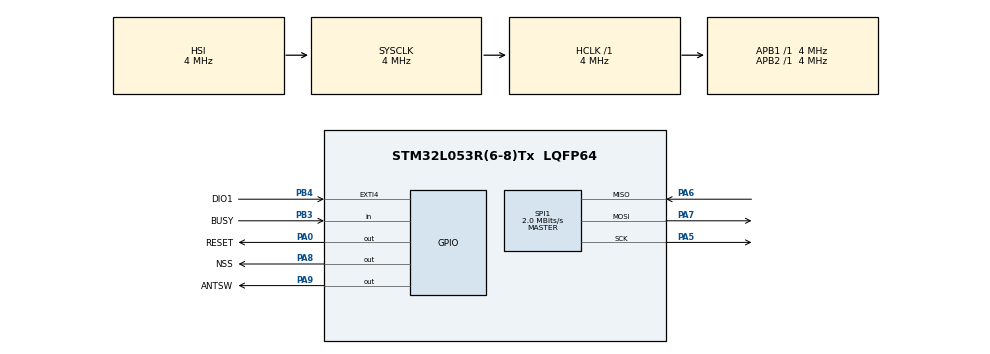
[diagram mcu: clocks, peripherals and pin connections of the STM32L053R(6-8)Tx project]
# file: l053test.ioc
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Mcu.Family=STM32L0
Mcu.Name=STM32L053R(6-8)Tx
Mcu.Package=LQFP64
NVIC.EXTI4_15_IRQn=true\:0\:0\:false\:false\:true
PA0.GPIO_Label=RESET
PA0.Signal=GPIO_Output
PA5.Mode=Full_Duplex_Master
PA5.Signal=SPI1_SCK
PA6.Mode=Full_Duplex_Master
PA6.Signal=SPI1_MISO
PA7.Mode=Full_Duplex_Master
PA7.Signal=SPI1_MOSI
PA8.GPIO_Label=NSS
PA8.GPIO_Speed=GPIO_SPEED_FREQ_VERY_HIGH
PA8.PinState=GPIO_PIN_RESET
PA8.Signal=GPIO_Output
PA9.GPIO_Label=ANTSW
PA9.GPIO_Speed=GPIO_SPEED_FREQ_VERY_HIGH
PA9.Signal=GPIO_Output
PB3.GPIO_Label=BUSY
PB3.Signal=GPIO_Input
PB4.GPIO_Label=DIO1
PB4.Signal=GPXTI4
ProjectManager.HeapSize=0x200
ProjectManager.StackSize=0x400
ProjectManager.TargetToolchain=Makefile
RCC.ADCFreq_Value=4000000
RCC.AHBFreq_Value=4000000
RCC.APB1Freq_Value=4000000
RCC.APB1TimFreq_Value=4000000
RCC.APB2Freq_Value=4000000
RCC.APB2TimFreq_Value=4000000
RCC.HCLKFreq_Value=4000000
RCC.HSE_VALUE=8000000
RCC.HSI16_VALUE=16000000
RCC.HSI48_VALUE=48000000
RCC.HSIRCDiv=4
RCC.HSI_VALUE=4000000
RCC.LSE_VALUE=32768
RCC.MSI_VALUE=2097000
RCC.SYSCLKFreq_VALUE=4000000
RCC.SYSCLKSource=RCC_SYSCLKSOURCE_HSI
RCC.VCOOutputFreq_Value=12000000
SPI1.CalculateBaudRate=2.0 MBits/s
SPI1.Direction=SPI_DIRECTION_2LINES
SPI1.Mode=SPI_MODE_MASTER
SPI1.VirtualType=VM_MASTER
board=l053test

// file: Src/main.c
/**
  ******************************************************************************
  * File Name          : main.c
  * Description        : Main program body
  ******************************************************************************
  ** This notice applies to any and all portions of this file
  * that are not between comment pairs USER CODE BEGIN and
  * USER CODE END. Other portions of this file, whether
  * inserted by the user or by software development tools
  * are owned by their respective copyright owners.
  *
  * COPYRIGHT(c) 2019 STMicroelectronics
  *
  * Redistribution and use in source and binary forms, with or without modification,
  * are permitted provided that the following conditions are met:
  *   1. Redistributions of source code must retain the above copyright notice,
  *      this list of conditions and the following disclaimer.
  *   2. Redistributions in binary form must reproduce the above copyright notice,
  *      this list of conditions and the following disclaimer in the documentation
  *      and/or other materials provided with the distribution.
  *   3. Neither the name of STMicroelectronics nor the names of its contributors
  *      may be used to endorse or promote products derived from this software
  *      without specific prior written permission.
  *
  * THIS SOFTWARE IS PROVIDED BY THE COPYRIGHT HOLDERS AND CONTRIBUTORS "AS IS"
  * AND ANY EXPRESS OR IMPLIED WARRANTIES, INCLUDING, BUT NOT LIMITED TO, THE
  * IMPLIED WARRANTIES OF MERCHANTABILITY AND FITNESS FOR A PARTICULAR PURPOSE ARE
  * DISCLAIMED. IN NO EVENT SHALL THE COPYRIGHT HOLDER OR CONTRIBUTORS BE LIABLE
  * FOR ANY DIRECT, INDIRECT, INCIDENTAL, SPECIAL, EXEMPLARY, OR CONSEQUENTIAL
  * DAMAGES (INCLUDING, BUT NOT LIMITED TO, PROCUREMENT OF SUBSTITUTE GOODS OR
  * SERVICES; LOSS OF USE, DATA, OR PROFITS; OR BUSINESS INTERRUPTION) HOWEVER
  * CAUSED AND ON ANY THEORY OF LIABILITY, WHETHER IN CONTRACT, STRICT LIABILITY,
  * OR TORT (INCLUDING NEGLIGENCE OR OTHERWISE) ARISING IN ANY WAY OUT OF THE USE
  * OF THIS SOFTWARE, EVEN IF ADVISED OF THE POSSIBILITY OF SUCH DAMAGE.
  *
  ******************************************************************************
  */
#include "main.h"
#include "stm32l0xx_hal.h"
#include <stdbool.h>

/* USER CODE BEGIN Includes */
//#include "sx126x-hal.h"
#include "sx126x.h"
/* USER CODE END Includes */

SPI_HandleTypeDef hspi1;

/* USER CODE BEGIN PV */

#define SEND_PING_BEAT_US 500000
#define RX_TIMEOUT_US 500000

/* Set this flag to '1' to display debug messages on the console */
#define DEBUG_MESSAGE   1
#define ADV_DEBUG 1

/* Set this flag to '1' to use the LoRa modulation or to '0' to use FSK modulation */
#define USE_MODEM_LORA  1
#define USE_MODEM_FSK   !USE_MODEM_LORA

#define RF_FREQUENCY                                    868500000 // Hz
#define TX_OUTPUT_POWER                                 14        // 14 dBm

//#if USE_MODEM_LORA == 1

    #define LORA_BANDWIDTH                              LORA_BW_125         // [0: 125 kHz,
                                                                  //  1: 250 kHz,
                                                                  //  2: 500 kHz,
                                                                  //  3: Reserved]
    #define LORA_SPREADING_FACTOR                       LORA_SF7         // [SF7..SF12]
    #define LORA_LOWDATARATEOPTIMIZE                    0
    #define LORA_CODINGRATE                             LORA_CR_4_5         // [1: 4/5,
                                                                  //  2: 4/6,
                                                                  //  3: 4/7,
                                                                  //  4: 4/8]
    #define LORA_PREAMBLE_LENGTH                        8         // Same for Tx and Rx
    #define LORA_SYMBOL_TIMEOUT                         5         // Symbols
    #define LORA_HEADER_TYPE                            LORA_PACKET_VARIABLE_LENGTH
    #define LORA_FHSS_ENABLED                           false
    #define LORA_NB_SYMB_HOP                            4
    #define LORA_IQ                                     LORA_IQ_NORMAL
    #define LORA_CRC_MODE                               LORA_CRC_ON

/*#elif USE_MODEM_FSK == 1

    #define FSK_FDEV                                    25000     // Hz
    #define FSK_DATARATE                                19200     // bps
    #define FSK_BANDWIDTH                               RX_BW_93800     // Hz
    #define FSK_MODULATION_SHAPPING                     MOD_SHAPING_G_BT_05
    #define FSK_PREAMBLE_LENGTH                         5         // Same for Tx and Rx
    #define FSK_HEADER_TYPE                             RADIO_PACKET_VARIABLE_LENGTH
    #define FSK_CRC_MODE                                RADIO_CRC_2_BYTES_CCIT
    #define FSK_ADDR_FILTERING                          RADIO_ADDRESSCOMP_FILT_NODE;
    #define FSK_WHITENING_MODE                          RADIO_DC_FREE_OFF
    #define FSK_PREAMBLE_DETECTOR_MODE                  RADIO_PREAMBLE_DETECTOR_OFF
    #define FSK_SYNCWORD_LENGTH                         8
#else
    #error "Please define a modem in the compiler options."
#endif*/

#define RX_TIMEOUT_VALUE                                3500      // in ms
#define BUFFER_SIZE                                     32        // Define the payload size here

 /*
 * Callback functions prototypes
 */
/*!
 * @brief Function to be executed on Radio Tx Done event
 */
void OnTxDone( void );

/*!
 * @brief Function to be executed on Radio Rx Done event
 */
void OnRxDone( void );

/*!
 * @brief Function executed on Radio Tx Timeout event
 */
void OnTxTimeout( void );

/*!
 * @brief Function executed on Radio Rx Timeout event
 */
void OnRxTimeout( void );

/*!
 * @brief Function executed on Radio Rx Error event
 */
void OnRxError( IrqErrorCode_t errCode );

/*!
 * @brief Function executed on Radio Fhss Change Channel event
 */
void OnFhssChangeChannel( uint8_t channelIndex );

typedef struct{
    RadioPacketTypes_t packetType;
    int8_t txPower;
    RadioRampTimes_t txRampTime;
    ModulationParams_t modParams;
    PacketParams_t packetParams;
    uint32_t rfFrequency;
    uint16_t irqTx;
    uint16_t irqRx;
    uint32_t txTimeout;
    uint32_t rxTimeout;
}RadioConfigurations_t;
RadioConfigurations_t radioConfiguration;

/*
 *  Global variables declarations
 */
typedef enum
{
    SEND_PACKET,
    WAIT_SEND_DONE,
    RECEIVE_PACKET,
    WAIT_RECEIVE_DONE,
    PACKET_RECEIVED,
}AppStates_t;
volatile AppStates_t State = SEND_PACKET;

typedef struct{
    bool rxDone;
    bool rxError;
    bool txDone;
    bool rxTimeout;
    bool txTimeout;
}RadioFlags_t;
RadioFlags_t radioFlags = {
    .txDone = false,
    .rxDone = false,
    .rxError = false,
    .rxTimeout = false,
    .txTimeout = false,
};

/*!
 * Radio events function pointer
 */
static RadioCallbacks_t RadioEvents = {
    .txDone = &OnTxDone,
    .txTimeout = &OnTxTimeout,
    .rxDone = &OnRxDone,
    .rxPreambleDetect = NULL,
    .rxHeaderDone = NULL,
    .rxTimeout = &OnRxTimeout,
    .rxError = &OnRxError,
    .cadDone = NULL,
};

/*
 *  Global variables declarations
 */
//Radio Radio( NULL );
#define MESSAGE_SIZE 4
typedef uint8_t Messages_t[MESSAGE_SIZE];
const Messages_t PingMsg = {'P', 'I', 'N', 'G'};
const Messages_t PongMsg = {'P', 'O', 'N', 'G'};
const Messages_t *messageToReceive = &PongMsg;
const Messages_t *messageToSend = &PingMsg;

uint8_t BufferSize = BUFFER_SIZE;
uint8_t Buffer[BUFFER_SIZE];

int8_t RssiValue = 0;
int8_t SnrValue = 0;

static bool ImageCalibrated = false;
static uint8_t OPT = 1;

RadioOperatingModes_t OperatingMode;

void GetRssiSnr(int8_t *rssi, int8_t *snr);
//SX126xHal Radio( D11, D12, D13, D7, D3, D5, NC, NC, A0, A1, A2, D8, &RadioEvents );

void SetToMaster(void);
void SetToSlave(void);
void RunMasterStateMachine();
void RunSlaveStateMachine();
void SetConfiguration(RadioConfigurations_t *config);
//void ConfigureGeneralRadio(SX126xHal *radio, RadioConfigurations_t *config);
//void ConfigureRadioTx(SX126xHal *radio, RadioConfigurations_t *config);
//void ConfigureRadioRx(SX126xHal *radio, RadioConfigurations_t *config);
//void PrepareBuffer(SX126xHal *radio, const Messages_t *messageToSend);
bool isMaster = true;
bool masterCanSend = true;
void MasterSendNextEvent(void){masterCanSend = true;}
bool slaveCanListen = false;
void SlaveListenNextEvent(void){slaveCanListen = true;}
//Ticker masterSendNextTicker;
//Ticker slaveListenNextTicker;

/* Private variables ---------------------------------------------------------*/

/* USER CODE END PV */

void SystemClock_Config(void);
static void MX_GPIO_Init(void);
static void MX_SPI1_Init(void);

/* USER CODE BEGIN PFP */
/* Private function prototypes -----------------------------------------------*/

/* USER CODE END PFP */

int main(void)
{

  /* MCU Configuration----------------------------------------------------------*/

  /* Reset of all peripherals, Initializes the Flash interface and the Systick. */
  HAL_Init();

  /* Configure the system clock */
  SystemClock_Config();

  /* Initialize all configured peripherals */
  MX_GPIO_Init();
  MX_SPI1_Init();

  /* USER CODE BEGIN 2 */
  sx126x_Reset();
  sx126x_Init();
  //serial.baud(115200);
  SetToMaster();
  SetConfiguration(&radioConfiguration);
  ConfigureGeneralRadio(&radioConfiguration);

  /* USER CODE END 2 */

  /* Infinite loop */
  while (1)
  {

  /* USER CODE BEGIN 3 */
    //if(isMaster){
     //RunMasterStateMachine();
    //}

    PrepareBuffer(messageToSend);
    ConfigureRadioTx(&radioConfiguration);
    sx126x_SetTx(radioConfiguration.txTimeout);

    HAL_Delay(500);

  }
  /* USER CODE END 3 */

}

void ConfigureRadioTx(RadioConfigurations_t *config){
    sx126x_SetDioIrqParams(config->irqTx, config->irqTx, IRQ_RADIO_NONE, IRQ_RADIO_NONE);
}

void PrepareBuffer(const Messages_t *messageToSend){
    sx126x_SetPayload((uint8_t*)messageToSend, MESSAGE_SIZE);
}

void sx126x_SetTx( uint32_t timeout )
{
    uint8_t buf[3];

    OperatingMode = MODE_TX;

    buf[0] = ( uint8_t )( ( timeout >> 16 ) & 0xFF );
    buf[1] = ( uint8_t )( ( timeout >> 8 ) & 0xFF );
    buf[2] = ( uint8_t )( timeout & 0xFF );
    sx126x_WriteCommand( RADIO_SET_TX, buf, 3 );
}

void sx126x_SetDioIrqParams( uint16_t irqMask, uint16_t dio1Mask, uint16_t dio2Mask, uint16_t dio3Mask )
{
    uint8_t buf[8];

    buf[0] = ( uint8_t )( ( irqMask >> 8 ) & 0x00FF );
    buf[1] = ( uint8_t )( irqMask & 0x00FF );
    buf[2] = ( uint8_t )( ( dio1Mask >> 8 ) & 0x00FF );
    buf[3] = ( uint8_t )( dio1Mask & 0x00FF );
    buf[4] = ( uint8_t )( ( dio2Mask >> 8 ) & 0x00FF );
    buf[5] = ( uint8_t )( dio2Mask & 0x00FF );
    buf[6] = ( uint8_t )( ( dio3Mask >> 8 ) & 0x00FF );
    buf[7] = ( uint8_t )( dio3Mask & 0x00FF );
    sx126x_WriteCommand( RADIO_CFG_DIOIRQ, buf, 8 );
}

void sx126x_SetPayload( uint8_t *payload, uint8_t size )
{
    sx126x_WriteBuffer( 0x00, payload, size );
}

void SetToMaster(){
    //printf("-->Master\n");
    isMaster = true;
    masterCanSend = true;
    State = SEND_PACKET;
    messageToReceive = &PongMsg;
    messageToSend = &PingMsg;
}

void ConfigureGeneralRadio(RadioConfigurations_t *config){
    sx126x_SetPacketType(config->packetType);
    sx126x_SetPacketParams(&config->packetParams);
    sx126x_SetModulationParams(&config->modParams);
    sx126x_SetRfFrequency(config->rfFrequency);
    sx126x_SetTxParams(config->txPower, config->txRampTime);
    //sx126x_SetInterruptMode();
    if(config->packetType == PACKET_TYPE_GFSK){
        uint8_t syncword[8] = {0xF0, 0x0F, 0x55, 0xAA, 0xF0, 0x0F, 0x55, 0xAA};
        sx126x_SetSyncWord(syncword);
    }
}

void sx126x_SetTxParams( int8_t power, RadioRampTimes_t rampTime )
{
    uint8_t buf[2];
    //DigitalIn OPT( A3 );

    //if( GetDeviceType( ) == SX1261 )
    //{
        if( power == 15 )
        {
            sx126x_SetPaConfig( 0x06, 0x00, 0x01, 0x01 );
        }
        else
        {
            sx126x_SetPaConfig( 0x04, 0x00, 0x01, 0x01 );
        }
        if( power >= 14 )
        {
            power = 14;
        }
        else if( power < -3 )
        {
            power = -3;
        }
        sx126x_WriteReg( REG_OCP, 0x18, 1 ); // current max is 80 mA for the whole device
    //}
    /*else // sx1262 or sx1268
    {
        SetPaConfig( 0x04, 0x07, 0x00, 0x01 );
        if( power > 22 )
        {
            power = 22;
        }
        else if( power < -3 )
        {
            power = -3;
        }
        WriteReg( REG_OCP, 0x38 ); // current max 160mA for the whole device
    }*/
    buf[0] = power;
    if( OPT == 0 )
    {
        if( ( uint8_t )rampTime < RADIO_RAMP_200_US )
        {
            buf[1] = RADIO_RAMP_200_US;
        }
        else
        {
            buf[1] = ( uint8_t )rampTime;
        }
    }
    else
    {
        buf[1] = ( uint8_t )rampTime;
    }
    sx126x_WriteCommand( RADIO_SET_TXPARAMS, buf, 2 );
}

void sx126x_SetPaConfig( uint8_t paDutyCycle, uint8_t HpMax, uint8_t deviceSel, uint8_t paLUT )
{
    uint8_t buf[4];

    buf[0] = paDutyCycle;
    buf[1] = HpMax;
    buf[2] = deviceSel;
    buf[3] = paLUT;
    sx126x_WriteCommand( RADIO_SET_PACONFIG, buf, 4 );
}

void sx126x_SetRfFrequency( uint32_t frequency )
{
    uint8_t buf[4];
    uint32_t freq = 0;

    if( ImageCalibrated == false )
    {
        sx126x_CalibrateImage( frequency );
        ImageCalibrated = true;
    }

    freq = ( uint32_t )( ( double )frequency / ( double )FREQ_STEP );
    buf[0] = ( uint8_t )( ( freq >> 24 ) & 0xFF );
    buf[1] = ( uint8_t )( ( freq >> 16 ) & 0xFF );
    buf[2] = ( uint8_t )( ( freq >> 8 ) & 0xFF );
    buf[3] = ( uint8_t )( freq & 0xFF );
    sx126x_WriteCommand( RADIO_SET_RFFREQUENCY, buf, 4 );
}

void sx126x_CalibrateImage( uint32_t freq )
{
    uint8_t calFreq[2];

    if( freq > 900000000 )
    {
        calFreq[0] = 0xE1;
        calFreq[1] = 0xE9;
    }
    else if( freq > 850000000 )
    {
        calFreq[0] = 0xD7;
        calFreq[1] = 0xD8;
    }
    else if( freq > 770000000 )
    {
        calFreq[0] = 0xC1;
        calFreq[1] = 0xC5;
    }
    else if( freq > 460000000 )
    {
        calFreq[0] = 0x75;
        calFreq[1] = 0x81;
    }
    else if( freq > 425000000 )
    {
        calFreq[0] = 0x6B;
        calFreq[1] = 0x6F;
    }
    sx126x_WriteCommand( RADIO_CALIBRATEIMAGE, calFreq, 2 );
}

void sx126x_SetModulationParams( ModulationParams_t *modulationParams )
{
    uint8_t n;
    uint32_t tempVal = 0;
    uint8_t buf[8] = { 0x00, 0x00, 0x00, 0x00, 0x00, 0x00, 0x00, 0x00 };

    // Check if required configuration corresponds to the stored packet type
    // If not, silently update radio packet type
    /*if( this->PacketType != modulationParams->PacketType )
    {
        this->SetPacketType( modulationParams->PacketType );
    }*/

    switch( modulationParams->PacketType )
    {
    case PACKET_TYPE_GFSK:
        n = 8;
        tempVal = ( uint32_t )( 32 * ( ( double )XTAL_FREQ / ( double )modulationParams->Params.Gfsk.BitRate ) );
        buf[0] = ( tempVal >> 16 ) & 0xFF;
        buf[1] = ( tempVal >> 8 ) & 0xFF;
        buf[2] = tempVal & 0xFF;
        buf[3] = modulationParams->Params.Gfsk.ModulationShaping;
        buf[4] = modulationParams->Params.Gfsk.Bandwidth;
        tempVal = ( uint32_t )( ( double )modulationParams->Params.Gfsk.Fdev / ( double )FREQ_STEP );
        buf[5] = ( tempVal >> 16 ) & 0xFF;
        buf[6] = ( tempVal >> 8 ) & 0xFF;
        buf[7] = ( tempVal& 0xFF );
        break;
    case PACKET_TYPE_LORA:
        n = 4;
        switch( modulationParams->Params.LoRa.Bandwidth )
        {
            case LORA_BW_500:
                 modulationParams->Params.LoRa.LowDatarateOptimize = 0x00;
                break;
            case LORA_BW_250:
                if( modulationParams->Params.LoRa.SpreadingFactor == 12 )
                {
                    modulationParams->Params.LoRa.LowDatarateOptimize = 0x01;
                }
                else
                {
                    modulationParams->Params.LoRa.LowDatarateOptimize = 0x00;
                }
                break;
            case LORA_BW_125:
                if( modulationParams->Params.LoRa.SpreadingFactor >= 11 )
                {
                    modulationParams->Params.LoRa.LowDatarateOptimize = 0x01;
                }
                else
                {
                    modulationParams->Params.LoRa.LowDatarateOptimize = 0x00;
                }
                break;
            case LORA_BW_062:
                if( modulationParams->Params.LoRa.SpreadingFactor >= 10 )
                {
                    modulationParams->Params.LoRa.LowDatarateOptimize = 0x01;
                }
                else
                {
                    modulationParams->Params.LoRa.LowDatarateOptimize = 0x00;
                }
                break;
            case LORA_BW_041:
                if( modulationParams->Params.LoRa.SpreadingFactor >= 9 )
                {
                    modulationParams->Params.LoRa.LowDatarateOptimize = 0x01;
                }
                else
                {
                    modulationParams->Params.LoRa.LowDatarateOptimize = 0x00;
                }
                break;
            case LORA_BW_031:
            case LORA_BW_020:
            case LORA_BW_015:
            case LORA_BW_010:
            case LORA_BW_007:
                    modulationParams->Params.LoRa.LowDatarateOptimize = 0x01;
                break;
            default:
                break;
        }
        buf[0] = modulationParams->Params.LoRa.SpreadingFactor;
        buf[1] = modulationParams->Params.LoRa.Bandwidth;
        buf[2] = modulationParams->Params.LoRa.CodingRate;
        buf[3] = modulationParams->Params.LoRa.LowDatarateOptimize;
        break;
    default:
    case PACKET_TYPE_NONE:
        return;
    }
    sx126x_WriteCommand( RADIO_SET_MODULATIONPARAMS, buf, n );
}

void sx126x_SetSyncWord( uint8_t *syncWord )
{
    sx126x_WriteReg( REG_LR_SYNCWORDBASEADDRESS, syncWord, 8 );
    //return 0;
}

void sx126x_SetPacketParams( PacketParams_t *packetParams )
{
    uint8_t n;
    uint8_t crcVal = 0;
    uint8_t buf[9] = { 0x00, 0x00, 0x00, 0x00, 0x00, 0x00, 0x00, 0x00, 0x00 };

    // Check if required configuration corresponds to the stored packet type
    // If not, silently update radio packet type
    /*if( this->PacketType != packetParams->PacketType )
    {
        this->SetPacketType( packetParams->PacketType );
    }*/

    //sx126x_SetPacketType( packetParams->PacketType );

    switch( packetParams->PacketType )
    {
    case PACKET_TYPE_GFSK:
        if( packetParams->Params.Gfsk.CrcLength == RADIO_CRC_2_BYTES_IBM )
        {
            sx126x_SetCrcSeed( CRC_IBM_SEED );
            sx126x_SetCrcPolynomial( CRC_POLYNOMIAL_IBM );
            crcVal = RADIO_CRC_2_BYTES;
        }
        else if(  packetParams->Params.Gfsk.CrcLength == RADIO_CRC_2_BYTES_CCIT )
        {
            sx126x_SetCrcSeed( CRC_CCITT_SEED );
            sx126x_SetCrcPolynomial( CRC_POLYNOMIAL_CCITT );
            crcVal = RADIO_CRC_2_BYTES_INV;
        }
        else
        {
            crcVal = packetParams->Params.Gfsk.CrcLength;
        }
        n = 9;
        // convert preamble length from byte to bit
        packetParams->Params.Gfsk.PreambleLength = packetParams->Params.Gfsk.PreambleLength << 3;

        buf[0] = ( packetParams->Params.Gfsk.PreambleLength >> 8 ) & 0xFF;
        buf[1] = packetParams->Params.Gfsk.PreambleLength;
        buf[2] = packetParams->Params.Gfsk.PreambleMinDetect;
        buf[3] = ( packetParams->Params.Gfsk.SyncWordLength << 3 ); // convert from byte to bit
        buf[4] = packetParams->Params.Gfsk.AddrComp;
        buf[5] = packetParams->Params.Gfsk.HeaderType;
        buf[6] = packetParams->Params.Gfsk.PayloadLength;
        buf[7] = crcVal;
        buf[8] = packetParams->Params.Gfsk.DcFree;
        break;
    case PACKET_TYPE_LORA:
        n = 6;
        buf[0] = ( packetParams->Params.LoRa.PreambleLength >> 8 ) & 0xFF;
        buf[1] = packetParams->Params.LoRa.PreambleLength;
        buf[2] = packetParams->Params.LoRa.HeaderType;
        buf[3] = packetParams->Params.LoRa.PayloadLength;
        buf[4] = packetParams->Params.LoRa.CrcMode;
        buf[5] = packetParams->Params.LoRa.InvertIQ;
        break;
    default:
    case PACKET_TYPE_NONE:
        return;
    }
    sx126x_WriteCommand( RADIO_SET_PACKETPARAMS, buf, n );
}

void sx126x_SetCrcSeed( uint16_t seed )
{
    uint8_t buf[2];

    buf[0] = ( uint8_t )( ( seed >> 8 ) & 0xFF );
    buf[1] = ( uint8_t )( seed & 0xFF );

    if (USE_MODEM_LORA == 0)
    {
        sx126x_WriteRegister( REG_LR_CRCSEEDBASEADDR, buf, 2 );
        return;
    } else {
        return;
    }
}

void sx126x_SetCrcPolynomial( uint16_t polynomial )
{
    uint8_t buf[2];

    buf[0] = ( uint8_t )( ( polynomial >> 8 ) & 0xFF );
    buf[1] = ( uint8_t )( polynomial & 0xFF );

    if (USE_MODEM_LORA == 0)
    {
        sx126x_WriteRegister( REG_LR_CRCPOLYBASEADDR, buf, 2 );
        return;
    } else {
        return;
    }
}

void sx126x_SetPacketType( RadioPacketTypes_t packetType )
{
    // Save packet type internally to avoid questioning the radio
    //this->PacketType = packetType;
    sx126x_WriteCommand( RADIO_SET_PACKETTYPE, ( uint8_t* )&packetType, 1 );
}

void SetConfiguration(RadioConfigurations_t *config){
    config->irqRx = IRQ_RX_DONE | IRQ_RX_TX_TIMEOUT;
    config->irqTx = IRQ_TX_DONE | IRQ_RX_TX_TIMEOUT;
    config->rfFrequency = RF_FREQUENCY;
    config->txTimeout = 0;
    config->rxTimeout = (uint32_t)(RX_TIMEOUT_US / 15.625);
    config->txPower = TX_OUTPUT_POWER;
    config->txRampTime = RADIO_RAMP_200_US;
    #if USE_MODEM_LORA == 1
        config->packetType = PACKET_TYPE_LORA;
        config->modParams.PacketType = PACKET_TYPE_LORA;
        config->modParams.Params.LoRa.Bandwidth = LORA_BANDWIDTH;
        config->modParams.Params.LoRa.CodingRate = LORA_CODINGRATE;
        config->modParams.Params.LoRa.LowDatarateOptimize = LORA_LOWDATARATEOPTIMIZE;
        config->modParams.Params.LoRa.SpreadingFactor = LORA_SPREADING_FACTOR;
        config->packetParams.PacketType = PACKET_TYPE_LORA;
        config->packetParams.Params.LoRa.CrcMode = LORA_CRC_MODE;
        config->packetParams.Params.LoRa.HeaderType = LORA_HEADER_TYPE;
        config->packetParams.Params.LoRa.InvertIQ = LORA_IQ;
        config->packetParams.Params.LoRa.PayloadLength = BUFFER_SIZE;
        config->packetParams.Params.LoRa.PreambleLength = LORA_PREAMBLE_LENGTH;
    #elif USE_MODEM_FSK == 1
        config->packetType = PACKET_TYPE_GFSK;
        config->modParams.PacketType = PACKET_TYPE_GFSK;
        config->modParams.Params.Gfsk.Bandwidth = FSK_BANDWIDTH;
        config->modParams.Params.Gfsk.BitRate = 1024000000 / FSK_DATARATE;
        config->modParams.Params.Gfsk.Fdev = FSK_FDEV * 1.048576;
        config->modParams.Params.Gfsk.ModulationShaping = FSK_MODULATION_SHAPPING;
        config->packetParams.PacketType = PACKET_TYPE_GFSK;
        config->packetParams.Params.Gfsk.AddrComp = FSK_ADDR_FILTERING;
        config->packetParams.Params.Gfsk.CrcLength = FSK_CRC_MODE;
        config->packetParams.Params.Gfsk.DcFree = FSK_WHITENING_MODE;
        config->packetParams.Params.Gfsk.HeaderType = FSK_HEADER_TYPE;
        config->packetParams.Params.Gfsk.PayloadLength = BUFFER_SIZE;
        config->packetParams.Params.Gfsk.PreambleLength = FSK_PREAMBLE_LENGTH;
        config->packetParams.Params.Gfsk.PreambleMinDetect = FSK_PREAMBLE_DETECTOR_MODE;
        config->packetParams.Params.Gfsk.SyncWordLength = FSK_SYNCWORD_LENGTH;
    #endif
}

void sx126x_Reset() {
      //__disable_irq( );
      HAL_Delay(20);
      HAL_GPIO_WritePin(RESET_GPIO_Port, RESET_Pin, 0);
      HAL_Delay(50);
      HAL_GPIO_WritePin(RESET_GPIO_Port, RESET_Pin, 1);
      //RadioReset.input( ); // Using the internal pull-up
      HAL_Delay(20);
      //__enable_irq( );

}

void sx126x_SetStandby( RadioStandbyModes_t standbyConfig )
{
    sx126x_WriteCommand( RADIO_SET_STANDBY, ( uint8_t* )&standbyConfig, 1 );
    if( standbyConfig == STDBY_RC )
    {
        OperatingMode = MODE_STDBY_RC;
    }
    else
    {
        OperatingMode = MODE_STDBY_XOSC;
    }
}

void sx126x_Init() {
  sx126x_Reset();
  sx126x_Wakeup();
  sx126x_SetStandby( STDBY_RC );

  //SetPollingMode( );

  sx126x_AntSwOn( );
  sx126x_SetDio2AsRfSwitchCtrl( true );

  OperatingMode = MODE_STDBY_RC;

  sx126x_SetPacketType( PACKET_TYPE_LORA );

  #ifdef USE_CONFIG_PUBLIC_NETOWRK
    // Change LoRa modem Sync Word for Public Networks
    sx126x_WriteReg( REG_LR_SYNCWORD, ( LORA_MAC_PUBLIC_SYNCWORD >> 8 ) & 0xFF , 1);
    sx126x_WriteReg( REG_LR_SYNCWORD + 1, LORA_MAC_PUBLIC_SYNCWORD & 0xFF , 1);
  #else
    // Change LoRa modem SyncWord for Private Networks
    sx126x_WriteReg( REG_LR_SYNCWORD, ( LORA_MAC_PRIVATE_SYNCWORD >> 8 ) & 0xFF , 1);
    sx126x_WriteReg( REG_LR_SYNCWORD + 1, LORA_MAC_PRIVATE_SYNCWORD & 0xFF , 1);
  #endif
}

void sx126x_WriteCommand( RadioCommands_t command, uint8_t *buffer, uint16_t size )
{
    sx126x_WaitOnBusy( );

    HAL_GPIO_WritePin(NSS_GPIO_Port, NSS_Pin, 0);
    uint8_t buf = (uint8_t)command;
    HAL_SPI_Transmit(&hspi1, &buf, 1, HAL_MAX_DELAY);
    //for( uint16_t i = 0; i < size; i++ )
    //{
        HAL_SPI_Transmit(&hspi1, buffer, size, HAL_MAX_DELAY);
    //}

    HAL_GPIO_WritePin(NSS_GPIO_Port, NSS_Pin, 1);

    sx126x_WaitOnCounter( );
}

void sx126x_WriteBuffer( uint8_t offset, uint8_t *buffer, uint8_t size )
{
    sx126x_WaitOnBusy( );

    HAL_GPIO_WritePin(NSS_GPIO_Port, NSS_Pin, 0);
    uint8_t buf = RADIO_WRITE_BUFFER;
    HAL_SPI_Transmit(&hspi1, &buf, 1, HAL_MAX_DELAY);
    HAL_SPI_Transmit(&hspi1, &offset, 1, HAL_MAX_DELAY);
    //for( uint16_t i = 0; i < size; i++ )
    //{
      HAL_SPI_Transmit(&hspi1, buffer, size, HAL_MAX_DELAY);
    //}
    HAL_GPIO_WritePin(NSS_GPIO_Port, NSS_Pin, 0);

}

void sx126x_WriteReg( uint16_t address, uint8_t *buffer, uint16_t size )
{
    sx126x_WaitOnBusy( );

    HAL_GPIO_WritePin(NSS_GPIO_Port, NSS_Pin, 0);
    uint8_t buf[3];

    buf[0] = ( uint8_t )RADIO_WRITE_REGISTER;
    buf[1] = ( uint8_t )( address & 0xFF00 ) >> 8;
    buf[2] = ( uint8_t )( address & 0x00FF );

    HAL_SPI_Transmit(&hspi1, buf, 3, HAL_MAX_DELAY);

    //for( uint16_t i = 0; i < size; i++ )
    //{
        HAL_SPI_Transmit(&hspi1, buffer, size, HAL_MAX_DELAY);
    //}
    HAL_GPIO_WritePin(NSS_GPIO_Port, NSS_Pin, 1);
}

void sx126x_WaitOnCounter( ) {
  for( uint8_t counter = 0; counter < 15; counter++ )
    {  __NOP( ); }
}

void sx126x_SetDio2AsRfSwitchCtrl( uint8_t enable ){
    sx126x_WriteCommand( RADIO_SET_RFSWITCHMODE, &enable, 1 );
}

void sx126x_Wakeup( void )
{
    //__disable_irq( );

    //Don't wait for BUSY here

    HAL_GPIO_WritePin(NSS_GPIO_Port, NSS_Pin, 0);
    uint8_t buf = RADIO_GET_STATUS;
    HAL_SPI_Transmit(&hspi1, &buf, 1, HAL_MAX_DELAY);
    buf = 0;
    HAL_SPI_Transmit(&hspi1, &buf, 1, HAL_MAX_DELAY);
    HAL_GPIO_WritePin(NSS_GPIO_Port, NSS_Pin, 1);

    // Wait for chip to be ready.
    sx126x_WaitOnBusy( );

    //__enable_irq( );

    sx126x_AntSwOn( );
}

void sx126x_AntSwOn()
{
    HAL_GPIO_WritePin(ANTSW_GPIO_Port, ANTSW_Pin, 1);
}

void sx126x_AntSwOff()
{
    HAL_GPIO_WritePin(ANTSW_GPIO_Port, ANTSW_Pin, 0);
}

void sx126x_WaitOnBusy() {
  while (HAL_GPIO_ReadPin(BUSY_GPIO_Port, BUSY_Pin) == 1) {}
}

/** System Clock Configuration
*/
void SystemClock_Config(void)
{

  RCC_OscInitTypeDef RCC_OscInitStruct;
  RCC_ClkInitTypeDef RCC_ClkInitStruct;

    /**Configure the main internal regulator output voltage
    */
  __HAL_PWR_VOLTAGESCALING_CONFIG(PWR_REGULATOR_VOLTAGE_SCALE1);

    /**Initializes the CPU, AHB and APB busses clocks
    */
  RCC_OscInitStruct.OscillatorType = RCC_OSCILLATORTYPE_HSI;
  RCC_OscInitStruct.HSIState = RCC_HSI_DIV4;
  RCC_OscInitStruct.HSICalibrationValue = 16;
  RCC_OscInitStruct.PLL.PLLState = RCC_PLL_NONE;
  if (HAL_RCC_OscConfig(&RCC_OscInitStruct) != HAL_OK)
  {
    _Error_Handler(__FILE__, __LINE__);
  }

    /**Initializes the CPU, AHB and APB busses clocks
    */
  RCC_ClkInitStruct.ClockType = RCC_CLOCKTYPE_HCLK|RCC_CLOCKTYPE_SYSCLK
                              |RCC_CLOCKTYPE_PCLK1|RCC_CLOCKTYPE_PCLK2;
  RCC_ClkInitStruct.SYSCLKSource = RCC_SYSCLKSOURCE_HSI;
  RCC_ClkInitStruct.AHBCLKDivider = RCC_SYSCLK_DIV1;
  RCC_ClkInitStruct.APB1CLKDivider = RCC_HCLK_DIV1;
  RCC_ClkInitStruct.APB2CLKDivider = RCC_HCLK_DIV1;

  if (HAL_RCC_ClockConfig(&RCC_ClkInitStruct, FLASH_LATENCY_0) != HAL_OK)
  {
    _Error_Handler(__FILE__, __LINE__);
  }

    /**Configure the Systick interrupt time
    */
  HAL_SYSTICK_Config(HAL_RCC_GetHCLKFreq()/1000);

    /**Configure the Systick
    */
  HAL_SYSTICK_CLKSourceConfig(SYSTICK_CLKSOURCE_HCLK);

  /* SysTick_IRQn interrupt configuration */
  HAL_NVIC_SetPriority(SysTick_IRQn, 0, 0);
}

/* SPI1 init function */
static void MX_SPI1_Init(void)
{

  hspi1.Instance = SPI1;
  hspi1.Init.Mode = SPI_MODE_MASTER;
  hspi1.Init.Direction = SPI_DIRECTION_2LINES;
  hspi1.Init.DataSize = SPI_DATASIZE_8BIT;
  hspi1.Init.CLKPolarity = SPI_POLARITY_LOW;
  hspi1.Init.CLKPhase = SPI_PHASE_1EDGE;
  hspi1.Init.NSS = SPI_NSS_SOFT;
  hspi1.Init.BaudRatePrescaler = SPI_BAUDRATEPRESCALER_2;
  hspi1.Init.FirstBit = SPI_FIRSTBIT_MSB;
  hspi1.Init.TIMode = SPI_TIMODE_DISABLE;
  hspi1.Init.CRCCalculation = SPI_CRCCALCULATION_DISABLE;
  hspi1.Init.CRCPolynomial = 7;
  if (HAL_SPI_Init(&hspi1) != HAL_OK)
  {
    _Error_Handler(__FILE__, __LINE__);
  }

}

/** Configure pins as
        * Analog
        * Input
        * Output
        * EVENT_OUT
        * EXTI
*/
static void MX_GPIO_Init(void)
{

  GPIO_InitTypeDef GPIO_InitStruct;

  /* GPIO Ports Clock Enable */
  __HAL_RCC_GPIOA_CLK_ENABLE();
  __HAL_RCC_GPIOB_CLK_ENABLE();

  /*Configure GPIO pin Output Level */
  HAL_GPIO_WritePin(GPIOA, RESET_Pin|NSS_Pin|ANTSW_Pin, GPIO_PIN_RESET);

  /*Configure GPIO pin : RESET_Pin */
  GPIO_InitStruct.Pin = RESET_Pin;
  GPIO_InitStruct.Mode = GPIO_MODE_OUTPUT_PP;
  GPIO_InitStruct.Pull = GPIO_NOPULL;
  GPIO_InitStruct.Speed = GPIO_SPEED_FREQ_LOW;
  HAL_GPIO_Init(RESET_GPIO_Port, &GPIO_InitStruct);

  /*Configure GPIO pins : NSS_Pin ANTSW_Pin */
  GPIO_InitStruct.Pin = NSS_Pin|ANTSW_Pin;
  GPIO_InitStruct.Mode = GPIO_MODE_OUTPUT_PP;
  GPIO_InitStruct.Pull = GPIO_NOPULL;
  GPIO_InitStruct.Speed = GPIO_SPEED_FREQ_VERY_HIGH;
  HAL_GPIO_Init(GPIOA, &GPIO_InitStruct);

  /*Configure GPIO pin : BUSY_Pin */
  GPIO_InitStruct.Pin = BUSY_Pin;
  GPIO_InitStruct.Mode = GPIO_MODE_INPUT;
  GPIO_InitStruct.Pull = GPIO_NOPULL;
  HAL_GPIO_Init(BUSY_GPIO_Port, &GPIO_InitStruct);

  /*Configure GPIO pin : DIO1_Pin */
  GPIO_InitStruct.Pin = DIO1_Pin;
  GPIO_InitStruct.Mode = GPIO_MODE_IT_FALLING;
  GPIO_InitStruct.Pull = GPIO_NOPULL;
  HAL_GPIO_Init(DIO1_GPIO_Port, &GPIO_InitStruct);

  /* EXTI interrupt init*/
  HAL_NVIC_SetPriority(EXTI4_15_IRQn, 0, 0);
  HAL_NVIC_EnableIRQ(EXTI4_15_IRQn);

}

void _Error_Handler(char * file, int line)
{
  while(1)
  {
  }
}

/************************ (C) COPYRIGHT STMicroelectronics *****END OF FILE****/
